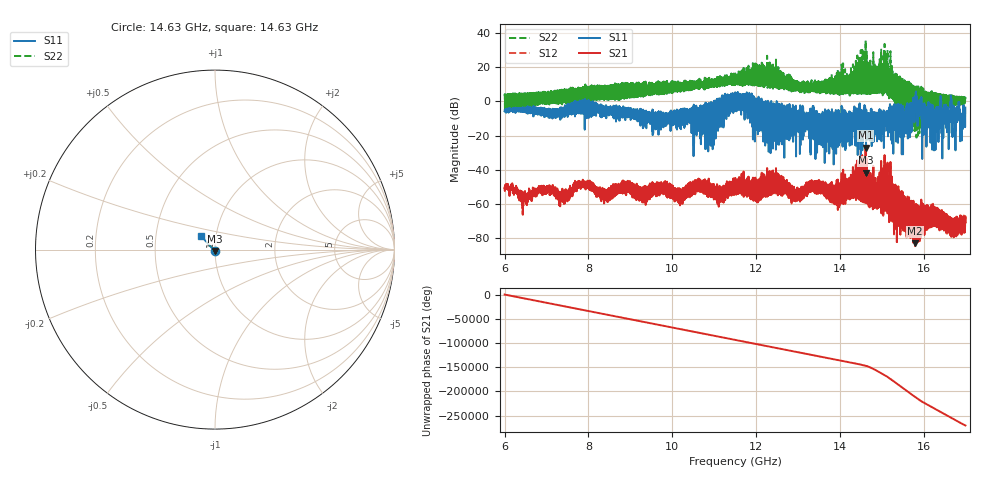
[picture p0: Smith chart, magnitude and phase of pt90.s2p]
#  HZ  S  RI  R  50.00
! Rohde & Schwarz Vector Network Analyzer
! Rohde-Schwarz,ZNA67-2Port,1332450062101215,3.01
! Created: UTC 10/19/2026, 10:50:40 AM
! freq[Hz]  re:S11  im:S11  re:S21  im:S21  re:S12  im:S12  re:S22  im:S22
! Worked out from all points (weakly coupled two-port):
!   11001 points, 6 GHz to 17 GHz, reference 50 ohm
!   highest |S21| = -26.99 dB at 14.62 GHz (marker M1); lowest = -83.1 dB at 15.8 GHz (marker M2)
!   lowest |S11| = -41.7 dB at 14.63 GHz (marker M3), VSWR 1.02, Z = 49.7 - j0.769 ohm
!   |S11| at or under -10 dB: 13.46883 GHz to 13.49486 GHz (26.03 MHz wide, 0.193 % of centre); 13.68905 GHz to 13.71522 GHz (26.17 MHz wide, 0.191 % of centre); 13.92241 GHz to 13.94881 GHz (26.39 MHz wide, 0.189 % of centre) (the widest 3 of 517)
!   |S22| runs from -21.2 to 35.8 dB; largest |S21 - S12| = 0.0027
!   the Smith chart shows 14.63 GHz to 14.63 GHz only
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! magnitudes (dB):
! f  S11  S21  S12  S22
! 6 GHz  -5.8  -50.5  -50.5  3.3
! 6.476 GHz  -5.6  -55.8  -55.8  0.8
! 6.891 GHz  -3.9  -52.3  -52.2  2.8
! 7.366 GHz  -9.1  -53.3  -53.2  6.9
! 7.834 GHz  -3.4  -47.6  -47.5  7.7
! 8.404 GHz  -5.1  -53.8  -53.6  7.4
! 9.667 GHz  -6.1  -47.6  -47.8  11.9
! 10.19 GHz  -8.1  -54.8  -54.6  10.3
! 10.68 GHz  -2.5  -52.8  -52.6  8.1
! 11.14 GHz  -6.1  -52.4  -52.5  14.9
! 11.5 GHz  5.0  -50.7  -50.6  12.2
! 13 GHz  -8.3  -54.5  -54.5  10.5
! 13.33 GHz  -12.6  -50.1  -49.9  8.0
! 13.95 GHz  -8.9  -57.8  -57.5  8.9
! 14.62 GHz  -4.6  -27.0  -26.9  35.8
! 14.63 GHz  -41.7  -54.4  -54.2  8.8
! 15.17 GHz  -14.7  -61.3  -61.5  5.8
! 15.68 GHz  -2.4  -63.7  -63.8  6.8
! 15.8 GHz  -6.1  -83.1  -84.8  -17.0
! 16.23 GHz  -9.1  -66.6  -66.3  3.0
! 16.91 GHz  -19.6  -70.6  -71.8  1.9
! 17 GHz  -3.6  -71.0  -71.0  1.6
